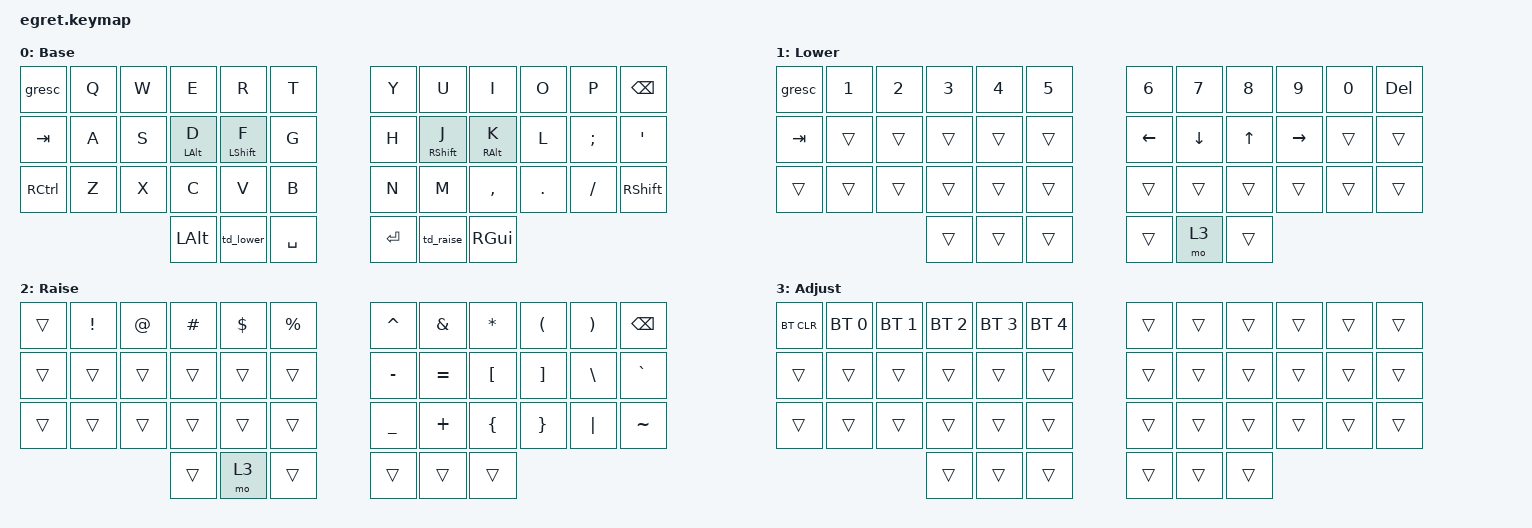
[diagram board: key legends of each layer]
#include <behaviors.dtsi>
#include <dt-bindings/zmk/keys.h>
#include <dt-bindings/zmk/bt.h>

/ {
    behaviors {
        hrm: home_row_mod {
            compatible = "zmk,behavior-hold-tap";
            display-name = "Home Row Mod";
            #binding-cells = <2>;
            flavor = "tap-preferred";
            tapping-term-ms = <200>;
            quick-tap-ms = <150>;
            require-prior-idle-ms = <100>;
            bindings = <&kp>, <&kp>;
        };

        td_lower: tap_dance_lower {
            compatible = "zmk,behavior-tap-dance";
            display-name = "Tap Dance Lower";
            #binding-cells = <0>;
            tapping-term-ms = <200>;
            bindings = <&mo 1>, <&tog 1>;
        };

        td_raise: tap_dance_raise {
            compatible = "zmk,behavior-tap-dance";
            display-name = "Tap Dance Raise";
            #binding-cells = <0>;
            tapping-term-ms = <200>;
            bindings = <&mo 2>, <&tog 2>;
        };
    };

    keymap {
        compatible = "zmk,keymap";

        default_layer {
            display-name = "Base";
            bindings = <
&gresc    &kp Q  &kp W    &kp E    &kp R     &kp T      &kp Y  &kp U     &kp I     &kp O    &kp P    &kp BSPC
&kp TAB   &kp A  &kp S    &hrm LALT D &hrm LSHFT F &kp G      &kp H  &hrm RSHFT J &hrm RALT K &kp L    &kp SEMI &kp SQT
&kp RCTRL &kp Z  &kp X    &kp C    &kp V     &kp B      &kp N  &kp M     &kp COMMA &kp DOT  &kp FSLH &kp RSHFT
                 &kp LALT &td_lower &kp SPACE           &kp RET &td_raise &kp RGUI
            >;
        };

        lower_layer {
            display-name = "Lower";
            bindings = <
&gresc    &kp N1 &kp N2   &kp N3   &kp N4    &kp N5     &kp N6 &kp N7    &kp N8    &kp N9   &kp N0   &kp DEL
&kp TAB   &trans &trans   &trans   &trans    &trans     &kp LEFT &kp DOWN &kp UP   &kp RIGHT &trans  &trans
&trans    &trans &trans   &trans   &trans    &trans     &trans &trans    &trans    &trans   &trans   &trans
                 &trans   &trans   &trans               &trans &mo 3     &trans
            >;
        };

        raise_layer {
            display-name = "Raise";
            bindings = <
&trans    &kp EXCL &kp AT &kp HASH &kp DLLR &kp PRCNT   &kp CARET &kp AMPS &kp ASTRK &kp LPAR &kp RPAR &kp BSPC
&trans    &trans   &trans &trans   &trans   &trans      &kp MINUS &kp EQUAL &kp LBKT &kp RBKT &kp BSLH &kp GRAVE
&trans    &trans   &trans &trans   &trans   &trans      &kp UNDER &kp PLUS  &kp LBRC &kp RBRC &kp PIPE &kp TILDE
                   &trans &mo 3    &trans               &trans    &trans    &trans
            >;
        };

        adjust_layer {
            display-name = "Adjust";
            bindings = <
&bt BT_CLR &bt BT_SEL 0 &bt BT_SEL 1 &bt BT_SEL 2 &bt BT_SEL 3 &bt BT_SEL 4   &trans &trans &trans &trans &trans &trans
&trans     &trans       &trans       &trans       &trans       &trans         &trans &trans &trans &trans &trans &trans
&trans     &trans       &trans       &trans       &trans       &trans         &trans &trans &trans &trans &trans &trans
                        &trans       &trans       &trans                      &trans &trans &trans
            >;
        };
    };
};
